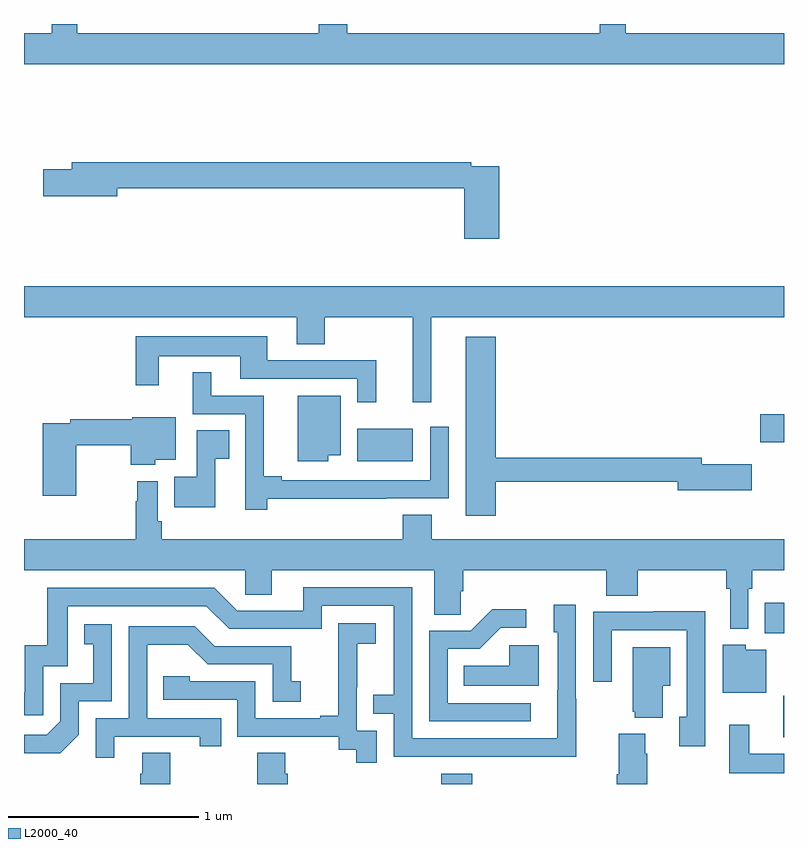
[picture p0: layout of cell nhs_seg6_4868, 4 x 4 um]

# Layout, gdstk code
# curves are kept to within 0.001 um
import gdstk
lib = gdstk.Library(unit=1e-6, precision=1e-09)
def R(c, l, rs):  # rectangles x0, y0, x1, y1
    for r in rs: c.add(gdstk.rectangle(r[:2], r[2:], *l))
def P(c, l, *ps):  # polygons
    for p in ps: c.add(gdstk.Polygon(p, *l))
L2000_40 = (2000, 40)

nhs_seg6_4868 = lib.new_cell('nhs_seg6_4868')
R(nhs_seg6_4868, L2000_40, [(401.195,991.5,401.36,991.555), (402.995,991.745,403,991.965), (402.898,992.294,403,992.455), (400.754,993.2,401.047,993.37), (402.876,993.299,403,993.446)])
P(nhs_seg6_4868, L2000_40, [(403,995.452),(402.167,995.452),(402.167,995.5),(402.031,995.5),(402.031,995.452),(400.702,995.452),(400.702,995.5),(400.55,995.5),(400.55,995.452),(399.281,995.452),(399.281,995.5),(399.145,995.5),(399.145,995.452),(399,995.452),(399,995.288),(403,995.288)],
  [(401.501,994.752),(401.354,994.752),(401.354,994.772),(399.251,994.772),(399.251,994.736),(399.102,994.736),(399.102,994.594),(399.49,994.594),(399.49,994.636),(401.318,994.636),(401.318,994.371),(401.501,994.371)],
  [(401.144,993.956),(403,993.956),(403,994.12),(399,994.12),(399,993.956),(400.436,993.956),(400.436,993.814),(400.584,993.814),(400.584,993.956),(401.045,993.956),(401.045,993.51),(401.144,993.51)],
  [(400.853,993.729),(400.279,993.729),(400.279,993.856),(399.588,993.856),(399.588,993.6),(399.709,993.6),(399.709,993.752),(400.139,993.752),(400.139,993.633),(400.755,993.633),(400.755,993.51),(400.853,993.51)],
  [(401.483,993.09),(402.44,993.09),(402.44,993.047),(402.829,993.047),(402.829,993.182),(402.568,993.182),(402.568,993.218),(401.483,993.218),(401.483,993.853),(401.324,993.853),(401.324,992.913),(401.483,992.913)],
  [(400.28,993.002),(400.91,993.002),(400.91,993.003),(401.235,993.003),(401.235,993.379),(401.139,993.379),(401.139,993.099),(400.357,993.099),(400.357,993.119),(400.262,993.119),(400.262,993.543),(399.985,993.543),(399.985,993.667),(399.887,993.667),(399.887,993.447),(400.164,993.447),(400.164,992.943),(400.28,992.943)],
  [(400.6,993.23),(400.666,993.23),(400.666,993.544),(400.442,993.544),(400.442,993.2),(400.6,993.2)],
  [(399.276,993.283),(399.562,993.283),(399.562,993.179),(399.69,993.179),(399.69,993.206),(399.799,993.206),(399.799,993.43),(399.569,993.43),(399.569,993.419),(399.244,993.419),(399.244,993.399),(399.098,993.399),(399.098,993.018),(399.276,993.018)],
  [(400.006,993.211),(400.079,993.211),(400.079,993.362),(399.909,993.362),(399.909,993.118),(399.79,993.118),(399.79,992.957),(400.006,992.957)],
  [(402.813,992.528),(402.833,992.528),(402.833,992.624),(403,992.624),(403,992.788),(401.146,992.788),(401.146,992.918),(400.994,992.918),(400.994,992.788),(399.725,992.788),(399.725,992.884),(399.705,992.884),(399.705,993.094),(399.597,993.094),(399.597,992.987),(399.589,992.987),(399.589,992.788),(399,992.788),(399,992.624),(400.164,992.624),(400.164,992.497),(400.303,992.497),(400.303,992.624),(401.159,992.624),(401.159,992.392),(401.298,992.392),(401.298,992.515),(401.312,992.515),(401.312,992.624),(402.065,992.624),(402.065,992.491),(402.23,992.491),(402.23,992.624),(402.697,992.624),(402.697,992.528),(402.716,992.528),(402.716,992.318),(402.813,992.318)],
  [(401.907,991.949),(401.904,991.949),(401.904,992.443),(401.789,992.443),(401.789,992.298),(401.808,992.298),(401.807,991.74),(401.043,991.74),(401.043,992.535),(400.469,992.535),(400.469,992.412),(400.122,992.412),(400.002,992.532),(399.123,992.532),(399.123,992.23),(399.005,992.23),(399.005,991.983),(399,991.983),(399,991.863),(399.102,991.863),(399.102,992.121),(399.231,992.121),(399.231,992.436),(399.96,992.436),(400.08,992.316),(400.566,992.316),(400.566,992.439),(400.947,992.439),(400.947,991.97),(400.837,991.97),(400.837,991.869),(400.947,991.869),(400.947,991.644),(401.907,991.643)],
  [(401.668,991.926),(401.229,991.926),(401.229,992.211),(401.398,992.211),(401.509,992.322),(401.644,992.322),(401.644,992.42),(401.465,992.42),(401.352,992.307),(401.133,992.307),(401.133,991.83),(401.668,991.83)],
  [(402.585,992.408),(402.313,992.408),(402.313,992.406),(401.997,992.406),(401.997,992.037),(402.093,992.037),(402.093,992.31),(402.489,992.31),(402.489,991.854),(402.449,991.854),(402.449,991.698),(402.585,991.698)],
  [(400.857,991.779),(400.752,991.779),(400.752,992.009),(400.754,992.009),(400.754,992.237),(400.852,992.237),(400.852,992.347),(400.654,992.347),(400.654,992.141),(400.655,992.141),(400.655,991.858),(400.559,991.858),(400.559,991.845),(400.218,991.845),(400.218,992.04),(399.873,992.04),(399.873,992.067),(399.733,992.067),(399.733,991.944),(400.122,991.944),(400.122,991.749),(400.656,991.749),(400.656,991.681),(400.749,991.681),(400.749,991.611),(400.857,991.611)],
  [(399.288,991.758),(399.288,991.935),(399.462,991.935),(399.462,992.341),(399.316,992.341),(399.316,992.235),(399.365,992.235),(399.365,992.031),(399.192,992.031),(399.192,991.83),(399.12,991.758),(399,991.758),(399,991.661),(399.19,991.661)],
  [(399.475,991.749),(399.926,991.749),(399.926,991.698),(400.037,991.698),(400.037,991.845),(399.648,991.845),(399.648,992.234),(399.862,992.234),(399.966,992.13),(400.308,992.13),(400.308,991.932),(400.456,991.932),(400.456,992.041),(400.407,992.041),(400.407,992.226),(400.003,992.226),(399.898,992.331),(399.552,992.331),(399.552,991.845),(399.378,991.845),(399.378,991.638),(399.475,991.638)],
  [(402.907,992.206),(402.798,992.206),(402.798,992.233),(402.677,992.233),(402.677,991.979),(402.907,991.979)],
  [(401.71,992.23),(401.553,992.23),(401.553,992.122),(401.314,992.122),(401.314,992.018),(401.71,992.018)],
  [(402.361,992.018),(402.4,992.018),(402.4,992.221),(402.203,992.221),(402.203,991.881),(402.215,991.881),(402.215,991.85),(402.361,991.85)],
  [(403,991.66),(402.817,991.66),(402.817,991.813),(402.713,991.813),(402.713,991.556),(403,991.556)],
  [(402.279,991.658),(402.271,991.658),(402.271,991.765),(402.131,991.765),(402.131,991.552),(402.119,991.552),(402.119,991.5),(402.279,991.5)],
  [(400.388,991.554),(400.375,991.554),(400.375,991.664),(400.228,991.664),(400.228,991.5),(400.388,991.5)],
  [(399.771,991.664),(399.623,991.664),(399.623,991.554),(399.611,991.554),(399.611,991.5),(399.771,991.5)])

lib.write_gds('nhs_seg6_4868.gds')
